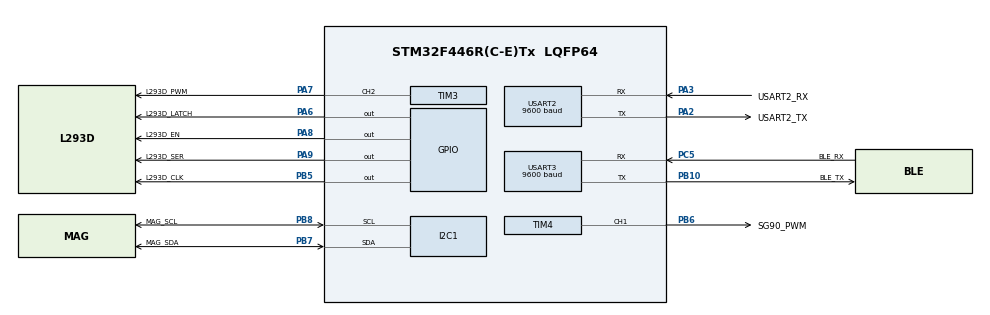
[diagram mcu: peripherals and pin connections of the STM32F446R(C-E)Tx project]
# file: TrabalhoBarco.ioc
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Dma.Request0=USART3_RX
Dma.USART3_RX.0.Direction=DMA_PERIPH_TO_MEMORY
Dma.USART3_RX.0.FIFOMode=DMA_FIFOMODE_DISABLE
Dma.USART3_RX.0.Instance=DMA1_Stream1
Dma.USART3_RX.0.MemDataAlignment=DMA_MDATAALIGN_BYTE
Dma.USART3_RX.0.MemInc=DMA_MINC_ENABLE
Dma.USART3_RX.0.Mode=DMA_NORMAL
Dma.USART3_RX.0.PeriphDataAlignment=DMA_PDATAALIGN_BYTE
Dma.USART3_RX.0.PeriphInc=DMA_PINC_DISABLE
Dma.USART3_RX.0.Priority=DMA_PRIORITY_LOW
FREERTOS.BinarySemaphores01=positionMutex,Dynamic,NULL,Available
FREERTOS.Tasks01=defaultTask,24,128,StartDefaultTask,Default,NULL,Dynamic,NULL,NULL;controlTask,24,128,executeControl,Default,NULL,Dynamic,NULL,NULL;positionTask,24,128,calculatePosition,Default,NULL,Dynamic,NULL,NULL
Mcu.Family=STM32F4
Mcu.Name=STM32F446R(C-E)Tx
Mcu.Package=LQFP64
NVIC.DMA1_Stream1_IRQn=true\:5\:0\:false\:false\:true\:true\:false\:true\:true
NVIC.PriorityGroup=NVIC_PRIORITYGROUP_4
NVIC.TIM2_IRQn=true\:15\:0\:false\:false\:true\:false\:false\:true\:true
NVIC.TimeBase=TIM2_IRQn
NVIC.TimeBaseIP=TIM2
PA13.Mode=Serial_Wire
PA13.Signal=SYS_JTMS-SWDIO
PA14.Mode=Serial_Wire
PA14.Signal=SYS_JTCK-SWCLK
PA2.GPIO_Label=USART2_TX
PA2.Mode=Asynchronous
PA2.Signal=USART2_TX
PA3.GPIO_Label=USART2_RX
PA3.Mode=Asynchronous
PA3.Signal=USART2_RX
PA6.GPIO_Label=L293D_LATCH
PA6.Signal=GPIO_Output
PA7.GPIO_Label=L293D_PWM
PA7.Signal=S_TIM3_CH2
PA8.GPIO_Label=L293D_EN
PA8.Signal=GPIO_Output
PA9.GPIO_Label=L293D_SER
PA9.Signal=GPIO_Output
PB10.GPIO_Label=BLE_TX
PB10.Mode=Asynchronous
PB10.Signal=USART3_TX
PB5.GPIO_Label=L293D_CLK
PB5.Signal=GPIO_Output
PB6.GPIO_Label=SG90_PWM
PB6.Signal=S_TIM4_CH1
PB7.GPIO_Label=MAG_SDA
PB7.Mode=I2C
PB7.Signal=I2C1_SDA
PB8.GPIO_Label=MAG_SCL
PB8.Mode=I2C
PB8.Signal=I2C1_SCL
PC5.GPIO_Label=BLE_RX
PC5.Mode=Asynchronous
PC5.Signal=USART3_RX
ProjectManager.HeapSize=0x200
ProjectManager.StackSize=0x400
ProjectManager.TargetToolchain=STM32CubeIDE
RCC.AHBFreq_Value=16000000
RCC.APB1CLKDivider=RCC_HCLK_DIV8
RCC.APB1Freq_Value=2000000
RCC.APB1TimFreq_Value=4000000
RCC.APB2Freq_Value=16000000
RCC.APB2TimFreq_Value=16000000
RCC.CortexFreq_Value=16000000
RCC.HCLKFreq_Value=16000000
RCC.USBFreq_Value=96000000
RCC.VCOOutputFreq_Value=192000000
SH.S_TIM3_CH2.0=TIM3_CH2,PWM Generation2 CH2
SH.S_TIM4_CH1.0=TIM4_CH1,PWM Generation1 CH1
TIM3.Channel-PWM\ Generation2\ CH2=TIM_CHANNEL_2
TIM3.Period=1250
TIM3.Prescaler=64-1
TIM4.Channel-PWM\ Generation1\ CH1=TIM_CHANNEL_1
TIM4.Period=1250
TIM4.Prescaler=64-1
USART2.BaudRate=9600
USART2.VirtualMode=VM_ASYNC
USART3.BaudRate=9600
USART3.VirtualMode=VM_ASYNC
VP_FREERTOS_VS_CMSIS_V2.Mode=CMSIS_V2
VP_SYS_VS_tim2.Mode=TIM2
board=custom

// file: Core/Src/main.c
/* USER CODE BEGIN Header */
/**
  ******************************************************************************
  * @file           : main.c
  * @brief          : Main program body
  ******************************************************************************
  * @attention
  *
  * Copyright (c) 2024 STMicroelectronics.
  * All rights reserved.
  *
  * This software is licensed under terms that can be found in the LICENSE file
  * in the root directory of this software component.
  * If no LICENSE file comes with this software, it is provided AS-IS.
  *
  ******************************************************************************
  */
/* USER CODE END Header */
#include "main.h"
#include "cmsis_os.h"

/* USER CODE BEGIN Includes */
#include <stdlib.h>
#include "stdint.h"
#include "Drivers/L293D4NUCLEO_64.h"
#include "Drivers/HMC5883L_4_NUCLEO_64.h"
#include "Utils/Position.h"
#include "FreeRTOS.h"
#include "semphr.h"
/* USER CODE END Includes */

I2C_HandleTypeDef hi2c1;

TIM_HandleTypeDef htim3;
TIM_HandleTypeDef htim4;

UART_HandleTypeDef huart2;
UART_HandleTypeDef huart3;
DMA_HandleTypeDef hdma_usart3_rx;

/* Definitions for defaultTask */
osThreadId_t defaultTaskHandle;
const osThreadAttr_t defaultTask_attributes = {
  .name = "defaultTask",
  .stack_size = 128 * 4,
  .priority = (osPriority_t) osPriorityNormal,
};
/* Definitions for controlTask */
osThreadId_t controlTaskHandle;
const osThreadAttr_t controlTask_attributes = {
  .name = "controlTask",
  .stack_size = 128 * 4,
  .priority = (osPriority_t) osPriorityNormal,
};
/* Definitions for positionTask */
osThreadId_t positionTaskHandle;
const osThreadAttr_t positionTask_attributes = {
  .name = "positionTask",
  .stack_size = 128 * 4,
  .priority = (osPriority_t) osPriorityNormal,
};
/* Definitions for positionMutex */
osSemaphoreId_t positionMutexHandle;
const osSemaphoreAttr_t positionMutex_attributes = {
  .name = "positionMutex"
};
/* USER CODE BEGIN PV */
// variables for receiving DATA
Position PosBoat;
Position DesirePos;
int16_t erro;
float integrador = 0;
uint8_t Kp = 1, Ki = 1;
int8_t executarControle;
/* USER CODE END PV */

void SystemClock_Config(void);
static void MX_GPIO_Init(void);
static void MX_DMA_Init(void);
static void MX_I2C1_Init(void);
static void MX_TIM4_Init(void);
static void MX_USART2_UART_Init(void);
static void MX_USART3_UART_Init(void);
static void MX_TIM3_Init(void);
void StartDefaultTask(void *argument);
void executeControl(void *argument);
void calculatePosition(void *argument);

int main(void)
{

  /* MCU Configuration--------------------------------------------------------*/

  /* Reset of all peripherals, Initializes the Flash interface and the Systick. */
  HAL_Init();

  /* Configure the system clock */
  SystemClock_Config();

  /* Initialize all configured peripherals */
  MX_GPIO_Init();
  MX_DMA_Init();
  MX_I2C1_Init();
  MX_TIM4_Init();
  MX_USART2_UART_Init();
  MX_USART3_UART_Init();
  MX_TIM3_Init();
  /* USER CODE BEGIN 2 */
  HMC5883L_Init(hi2c1);
  LocationService_Init(&huart3);
  /* USER CODE END 2 */

  /* Init scheduler */
  osKernelInitialize();

  /* Create the semaphores(s) */
  /* creation of positionMutex */
  positionMutexHandle = osSemaphoreNew(1, 1, &positionMutex_attributes);

  /* Create the thread(s) */
  /* creation of defaultTask */
  defaultTaskHandle = osThreadNew(StartDefaultTask, NULL, &defaultTask_attributes);

  /* creation of controlTask */
  controlTaskHandle = osThreadNew(executeControl, NULL, &controlTask_attributes);

  /* creation of positionTask */
  positionTaskHandle = osThreadNew(calculatePosition, NULL, &positionTask_attributes);

  /* Start scheduler */
  osKernelStart();

  /* We should never get here as control is now taken by the scheduler */

  /* Infinite loop */
  while (1)
  {

  }
}

void SystemClock_Config(void)
{
  RCC_OscInitTypeDef RCC_OscInitStruct = {0};
  RCC_ClkInitTypeDef RCC_ClkInitStruct = {0};

  /** Configure the main internal regulator output voltage
  */
  __HAL_RCC_PWR_CLK_ENABLE();
  __HAL_PWR_VOLTAGESCALING_CONFIG(PWR_REGULATOR_VOLTAGE_SCALE3);

  /** Initializes the RCC Oscillators according to the specified parameters
  * in the RCC_OscInitTypeDef structure.
  */
  RCC_OscInitStruct.OscillatorType = RCC_OSCILLATORTYPE_HSI;
  RCC_OscInitStruct.HSIState = RCC_HSI_ON;
  RCC_OscInitStruct.HSICalibrationValue = RCC_HSICALIBRATION_DEFAULT;
  RCC_OscInitStruct.PLL.PLLState = RCC_PLL_NONE;
  if (HAL_RCC_OscConfig(&RCC_OscInitStruct) != HAL_OK)
  {
    Error_Handler();
  }

  /** Initializes the CPU, AHB and APB buses clocks
  */
  RCC_ClkInitStruct.ClockType = RCC_CLOCKTYPE_HCLK|RCC_CLOCKTYPE_SYSCLK
                              |RCC_CLOCKTYPE_PCLK1|RCC_CLOCKTYPE_PCLK2;
  RCC_ClkInitStruct.SYSCLKSource = RCC_SYSCLKSOURCE_HSI;
  RCC_ClkInitStruct.AHBCLKDivider = RCC_SYSCLK_DIV1;
  RCC_ClkInitStruct.APB1CLKDivider = RCC_HCLK_DIV8;
  RCC_ClkInitStruct.APB2CLKDivider = RCC_HCLK_DIV1;

  if (HAL_RCC_ClockConfig(&RCC_ClkInitStruct, FLASH_LATENCY_0) != HAL_OK)
  {
    Error_Handler();
  }
}

static void MX_I2C1_Init(void)
{

  hi2c1.Instance = I2C1;
  hi2c1.Init.ClockSpeed = 100000;
  hi2c1.Init.DutyCycle = I2C_DUTYCYCLE_2;
  hi2c1.Init.OwnAddress1 = 0;
  hi2c1.Init.AddressingMode = I2C_ADDRESSINGMODE_7BIT;
  hi2c1.Init.DualAddressMode = I2C_DUALADDRESS_DISABLE;
  hi2c1.Init.OwnAddress2 = 0;
  hi2c1.Init.GeneralCallMode = I2C_GENERALCALL_DISABLE;
  hi2c1.Init.NoStretchMode = I2C_NOSTRETCH_DISABLE;
  if (HAL_I2C_Init(&hi2c1) != HAL_OK)
  {
    Error_Handler();
  }

}

static void MX_TIM3_Init(void)
{

  TIM_MasterConfigTypeDef sMasterConfig = {0};
  TIM_OC_InitTypeDef sConfigOC = {0};

  htim3.Instance = TIM3;
  htim3.Init.Prescaler = 64-1;
  htim3.Init.CounterMode = TIM_COUNTERMODE_UP;
  htim3.Init.Period = 1250;
  htim3.Init.ClockDivision = TIM_CLOCKDIVISION_DIV1;
  htim3.Init.AutoReloadPreload = TIM_AUTORELOAD_PRELOAD_DISABLE;
  if (HAL_TIM_PWM_Init(&htim3) != HAL_OK)
  {
    Error_Handler();
  }
  sMasterConfig.MasterOutputTrigger = TIM_TRGO_RESET;
  sMasterConfig.MasterSlaveMode = TIM_MASTERSLAVEMODE_DISABLE;
  if (HAL_TIMEx_MasterConfigSynchronization(&htim3, &sMasterConfig) != HAL_OK)
  {
    Error_Handler();
  }
  sConfigOC.OCMode = TIM_OCMODE_PWM1;
  sConfigOC.Pulse = 0;
  sConfigOC.OCPolarity = TIM_OCPOLARITY_HIGH;
  sConfigOC.OCFastMode = TIM_OCFAST_DISABLE;
  if (HAL_TIM_PWM_ConfigChannel(&htim3, &sConfigOC, TIM_CHANNEL_2) != HAL_OK)
  {
    Error_Handler();
  }
  HAL_TIM_MspPostInit(&htim3);

}

static void MX_TIM4_Init(void)
{

  TIM_MasterConfigTypeDef sMasterConfig = {0};
  TIM_OC_InitTypeDef sConfigOC = {0};

  htim4.Instance = TIM4;
  htim4.Init.Prescaler = 64-1;
  htim4.Init.CounterMode = TIM_COUNTERMODE_UP;
  htim4.Init.Period = 1250;
  htim4.Init.ClockDivision = TIM_CLOCKDIVISION_DIV1;
  htim4.Init.AutoReloadPreload = TIM_AUTORELOAD_PRELOAD_DISABLE;
  if (HAL_TIM_PWM_Init(&htim4) != HAL_OK)
  {
    Error_Handler();
  }
  sMasterConfig.MasterOutputTrigger = TIM_TRGO_RESET;
  sMasterConfig.MasterSlaveMode = TIM_MASTERSLAVEMODE_DISABLE;
  if (HAL_TIMEx_MasterConfigSynchronization(&htim4, &sMasterConfig) != HAL_OK)
  {
    Error_Handler();
  }
  sConfigOC.OCMode = TIM_OCMODE_PWM1;
  sConfigOC.Pulse = 0;
  sConfigOC.OCPolarity = TIM_OCPOLARITY_HIGH;
  sConfigOC.OCFastMode = TIM_OCFAST_DISABLE;
  if (HAL_TIM_PWM_ConfigChannel(&htim4, &sConfigOC, TIM_CHANNEL_1) != HAL_OK)
  {
    Error_Handler();
  }
  HAL_TIM_MspPostInit(&htim4);

}

static void MX_USART2_UART_Init(void)
{

  huart2.Instance = USART2;
  huart2.Init.BaudRate = 9600;
  huart2.Init.WordLength = UART_WORDLENGTH_8B;
  huart2.Init.StopBits = UART_STOPBITS_1;
  huart2.Init.Parity = UART_PARITY_NONE;
  huart2.Init.Mode = UART_MODE_TX_RX;
  huart2.Init.HwFlowCtl = UART_HWCONTROL_NONE;
  huart2.Init.OverSampling = UART_OVERSAMPLING_16;
  if (HAL_UART_Init(&huart2) != HAL_OK)
  {
    Error_Handler();
  }

}

static void MX_USART3_UART_Init(void)
{

  huart3.Instance = USART3;
  huart3.Init.BaudRate = 9600;
  huart3.Init.WordLength = UART_WORDLENGTH_8B;
  huart3.Init.StopBits = UART_STOPBITS_1;
  huart3.Init.Parity = UART_PARITY_NONE;
  huart3.Init.Mode = UART_MODE_TX_RX;
  huart3.Init.HwFlowCtl = UART_HWCONTROL_NONE;
  huart3.Init.OverSampling = UART_OVERSAMPLING_16;
  if (HAL_UART_Init(&huart3) != HAL_OK)
  {
    Error_Handler();
  }

}

static void MX_DMA_Init(void)
{

  /* DMA controller clock enable */
  __HAL_RCC_DMA1_CLK_ENABLE();

  /* DMA interrupt init */
  /* DMA1_Stream1_IRQn interrupt configuration */
  HAL_NVIC_SetPriority(DMA1_Stream1_IRQn, 5, 0);
  HAL_NVIC_EnableIRQ(DMA1_Stream1_IRQn);

}

static void MX_GPIO_Init(void)
{
  GPIO_InitTypeDef GPIO_InitStruct = {0};

  /* GPIO Ports Clock Enable */
  __HAL_RCC_GPIOA_CLK_ENABLE();
  __HAL_RCC_GPIOC_CLK_ENABLE();
  __HAL_RCC_GPIOB_CLK_ENABLE();

  /*Configure GPIO pin Output Level */
  HAL_GPIO_WritePin(GPIOA, L293D_LATCH_Pin|L293D_EN_Pin|L293D_SER_Pin, GPIO_PIN_RESET);

  /*Configure GPIO pin Output Level */
  HAL_GPIO_WritePin(L293D_CLK_GPIO_Port, L293D_CLK_Pin, GPIO_PIN_RESET);

  /*Configure GPIO pins : L293D_LATCH_Pin L293D_EN_Pin L293D_SER_Pin */
  GPIO_InitStruct.Pin = L293D_LATCH_Pin|L293D_EN_Pin|L293D_SER_Pin;
  GPIO_InitStruct.Mode = GPIO_MODE_OUTPUT_PP;
  GPIO_InitStruct.Pull = GPIO_NOPULL;
  GPIO_InitStruct.Speed = GPIO_SPEED_FREQ_LOW;
  HAL_GPIO_Init(GPIOA, &GPIO_InitStruct);

  /*Configure GPIO pin : L293D_CLK_Pin */
  GPIO_InitStruct.Pin = L293D_CLK_Pin;
  GPIO_InitStruct.Mode = GPIO_MODE_OUTPUT_PP;
  GPIO_InitStruct.Pull = GPIO_NOPULL;
  GPIO_InitStruct.Speed = GPIO_SPEED_FREQ_LOW;
  HAL_GPIO_Init(L293D_CLK_GPIO_Port, &GPIO_InitStruct);

}

void StartDefaultTask(void *argument)
{
  for(;;)
  {
    osDelay(1);
  }
}

void executeControl(void *argument)
{
  /* USER CODE BEGIN executeControl */
  /* Infinite loop */
  for(;;)
  {
	  xSemaphoreTake(positionMutexHandle, portMAX_DELAY);
	  if(executarControle == 1){
		  erro = PosBoat.angle - DesirePos.angle;
		  integrador += erro;
		  PosBoat.angle -= (Kp*erro + Ki*integrador);
		  SG90_Update(htim4, TIM_CHANNEL_1, &PosBoat.angle,&DesirePos.angle);
		  executarControle = 0;
	  }
	  xSemaphoreGive(positionMutexHandle);
	  osDelay(100);
  }
  /* USER CODE END executeControl */
}

void calculatePosition(void *argument)
{
  /* USER CODE BEGIN calculatePosition */
  /* Infinite loop */
  for(;;)
  {

	  xSemaphoreTake(positionMutexHandle, portMAX_DELAY);
	  // Enquanto o barco não chegar no destino é preciso atuar controle sobre ele
	  if(LocationService_IsInDestiny() != 1){
		  executarControle = 1;
		  // Atualiza magnetômetro
		  getDirectionBoat (hi2c1, &PosBoat.x,&PosBoat.y,&PosBoat.angle);
		  // Atualiza beacon
		  LocationService_UpdateLocation();
		  DesirePos.angle = LocationService_GetArrivalAngle();
	  }
	  xSemaphoreGive(positionMutexHandle);
	  osDelay(100);
  }
  /* USER CODE END calculatePosition */
}

void HAL_TIM_PeriodElapsedCallback(TIM_HandleTypeDef *htim)
{
  if (htim->Instance == TIM2) {
    HAL_IncTick();
  }
}

void Error_Handler(void)
{
  __disable_irq();
  while (1)
  {
  }
}
